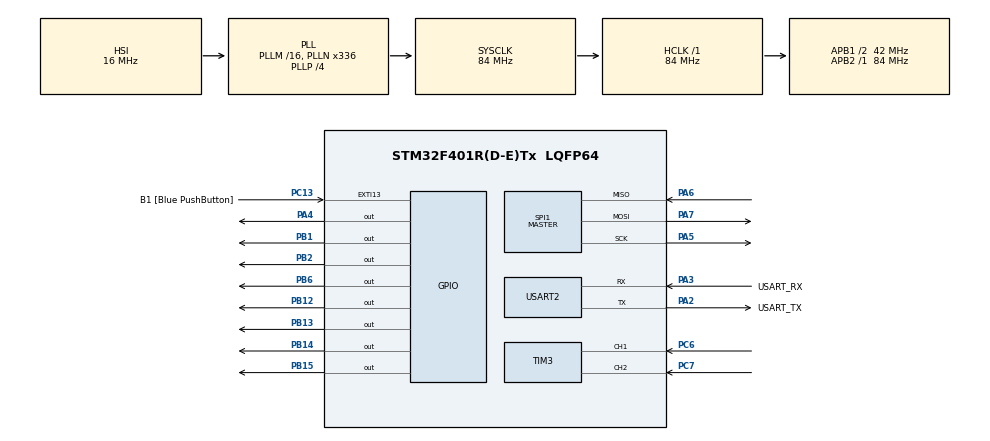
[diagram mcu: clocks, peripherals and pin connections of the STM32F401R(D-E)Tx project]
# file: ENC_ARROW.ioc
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Dma.Request0=USART2_TX
Dma.Request1=SPI1_TX
Dma.SPI1_TX.1.Direction=DMA_MEMORY_TO_PERIPH
Dma.SPI1_TX.1.FIFOMode=DMA_FIFOMODE_DISABLE
Dma.SPI1_TX.1.Instance=DMA2_Stream3
Dma.SPI1_TX.1.MemDataAlignment=DMA_MDATAALIGN_BYTE
Dma.SPI1_TX.1.MemInc=DMA_MINC_ENABLE
Dma.SPI1_TX.1.Mode=DMA_NORMAL
Dma.SPI1_TX.1.PeriphDataAlignment=DMA_PDATAALIGN_BYTE
Dma.SPI1_TX.1.PeriphInc=DMA_PINC_DISABLE
Dma.SPI1_TX.1.Priority=DMA_PRIORITY_LOW
Dma.USART2_TX.0.Direction=DMA_MEMORY_TO_PERIPH
Dma.USART2_TX.0.FIFOMode=DMA_FIFOMODE_DISABLE
Dma.USART2_TX.0.Instance=DMA1_Stream6
Dma.USART2_TX.0.MemDataAlignment=DMA_MDATAALIGN_BYTE
Dma.USART2_TX.0.MemInc=DMA_MINC_ENABLE
Dma.USART2_TX.0.Mode=DMA_NORMAL
Dma.USART2_TX.0.PeriphDataAlignment=DMA_PDATAALIGN_BYTE
Dma.USART2_TX.0.PeriphInc=DMA_PINC_DISABLE
Dma.USART2_TX.0.Priority=DMA_PRIORITY_HIGH
Mcu.Family=STM32F4
Mcu.Name=STM32F401R(D-E)Tx
Mcu.Package=LQFP64
NVIC.DMA1_Stream6_IRQn=true\:0\:0\:false\:false\:true\:false\:true\:true
NVIC.DMA2_Stream3_IRQn=true\:0\:0\:false\:false\:true\:false\:true\:true
NVIC.PriorityGroup=NVIC_PRIORITYGROUP_4
NVIC.SPI1_IRQn=true\:0\:0\:false\:false\:true\:true\:true\:true
NVIC.TIM2_IRQn=true\:0\:0\:false\:false\:true\:true\:true\:true
NVIC.TIM4_IRQn=true\:0\:0\:false\:false\:true\:true\:true\:true
PA13.GPIO_Label=TMS
PA13.Mode=Trace_Asynchronous_SW
PA13.Signal=SYS_JTMS-SWDIO
PA14.GPIO_Label=TCK
PA14.Mode=Trace_Asynchronous_SW
PA14.Signal=SYS_JTCK-SWCLK
PA2.GPIO_Label=USART_TX
PA2.GPIO_Mode=GPIO_MODE_AF_PP
PA2.GPIO_PuPd=GPIO_NOPULL
PA2.GPIO_Speed=GPIO_SPEED_FREQ_LOW
PA2.Mode=Asynchronous
PA2.Signal=USART2_TX
PA3.GPIO_Label=USART_RX
PA3.GPIO_Mode=GPIO_MODE_AF_PP
PA3.GPIO_PuPd=GPIO_NOPULL
PA3.GPIO_Speed=GPIO_SPEED_FREQ_LOW
PA3.Mode=Asynchronous
PA3.Signal=USART2_RX
PA4.Signal=GPIO_Output
PA5.Mode=Full_Duplex_Master
PA5.Signal=SPI1_SCK
PA6.Mode=Full_Duplex_Master
PA6.Signal=SPI1_MISO
PA7.Mode=Full_Duplex_Master
PA7.Signal=SPI1_MOSI
PB1.Signal=GPIO_Output
PB12.Signal=GPIO_Output
PB13.Signal=GPIO_Output
PB14.Signal=GPIO_Output
PB15.Signal=GPIO_Output
PB2.Signal=GPIO_Output
PB3.GPIO_Label=SWO
PB3.Mode=Trace_Asynchronous_SW
PB3.Signal=SYS_JTDO-SWO
PB6.Signal=GPIO_Output
PC13-ANTI_TAMP.GPIO_Label=B1 [Blue PushButton]
PC13-ANTI_TAMP.GPIO_ModeDefaultEXTI=GPIO_MODE_IT_FALLING
PC13-ANTI_TAMP.GPIO_PuPd=GPIO_NOPULL
PC13-ANTI_TAMP.Signal=GPXTI13
PC14-OSC32_IN.Mode=LSE-External-Oscillator
PC14-OSC32_IN.Signal=RCC_OSC32_IN
PC15-OSC32_OUT.Mode=LSE-External-Oscillator
PC15-OSC32_OUT.Signal=RCC_OSC32_OUT
PC6.Signal=S_TIM3_CH1
PC7.Signal=S_TIM3_CH2
PH0\ -\ OSC_IN.Mode=HSE-External-Clock-Source
PH0\ -\ OSC_IN.Signal=RCC_OSC_IN
PH1\ -\ OSC_OUT.Mode=HSE-External-Clock-Source
PH1\ -\ OSC_OUT.Signal=RCC_OSC_OUT
ProjectManager.HeapSize=0x200
ProjectManager.StackSize=0x400
ProjectManager.TargetToolchain=STM32CubeIDE
RCC.48MHZClocksFreq_Value=48000000
RCC.AHBFreq_Value=84000000
RCC.APB1CLKDivider=RCC_HCLK_DIV2
RCC.APB1Freq_Value=42000000
RCC.APB1TimFreq_Value=84000000
RCC.APB2Freq_Value=84000000
RCC.APB2TimFreq_Value=84000000
RCC.CortexFreq_Value=84000000
RCC.HCLKFreq_Value=84000000
RCC.HSE_VALUE=8000000
RCC.HSI_VALUE=16000000
RCC.PLLN=336
RCC.PLLP=RCC_PLLP_DIV4
RCC.PLLQ=7
RCC.SYSCLKFreq_VALUE=84000000
RCC.SYSCLKSource=RCC_SYSCLKSOURCE_PLLCLK
RCC.VCOOutputFreq_Value=336000000
SH.S_TIM3_CH1.0=TIM3_CH1,Encoder_Interface
SH.S_TIM3_CH2.0=TIM3_CH2,Encoder_Interface
SPI1.BaudRatePrescaler=SPI_BAUDRATEPRESCALER_4
SPI1.Direction=SPI_DIRECTION_2LINES
SPI1.Mode=SPI_MODE_MASTER
SPI1.VirtualType=VM_MASTER
TIM2.Period=8399
TIM2.Prescaler=9999
TIM3.ClockDivision=TIM_CLOCKDIVISION_DIV4
TIM3.IC1Filter=15
TIM3.IC1Polarity=TIM_ICPOLARITY_FALLING
TIM4.Period=33
TIM4.Prescaler=9999
USART2.VirtualMode=VM_ASYNC
VP_TIM2_VS_ClockSourceINT.Mode=Internal
VP_TIM4_VS_ClockSourceINT.Mode=Internal
board=NUCLEO-F401RE

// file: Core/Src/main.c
/* USER CODE BEGIN Header */
/**
  ******************************************************************************
  * @file           : main.c
  * @brief          : Main program body
  ******************************************************************************
  * @attention
  *
  * Copyright (c) 2026 STMicroelectronics.
  * All rights reserved.
  *
  * This software is licensed under terms that can be found in the LICENSE file
  * in the root directory of this software component.
  * If no LICENSE file comes with this software, it is provided AS-IS.
  *
  ******************************************************************************
  */
/* USER CODE END Header */
#include "main.h"

/* USER CODE BEGIN Includes */
#include "PMDB16_LCD.h"
#include "stdio.h"
#include "string.h"

/* USER CODE END Includes */

/* USER CODE BEGIN PD */
// ENCODER
#define STEPS_PER_REVOLUTION 24

// LED MATRIX
#define NUM_COLS 5
#define NUM_ARROWS 2
#define PORT_RCLK GPIOB
#define PIN_RCLK GPIO_PIN_6

/* USER CODE END PD */

SPI_HandleTypeDef hspi1;
DMA_HandleTypeDef hdma_spi1_tx;

TIM_HandleTypeDef htim2;
TIM_HandleTypeDef htim3;
TIM_HandleTypeDef htim4;

UART_HandleTypeDef huart2;
DMA_HandleTypeDef hdma_usart2_tx;

/* USER CODE BEGIN PV */

// LCD
char line_rpm[17];
volatile int bar_value=0;

// ENCODER
volatile float rpm;
static uint16_t value;
static uint16_t past_value=0;

// LED MATRIX
static const uint8_t ARROW_COL[NUM_COLS] = { 16,  8,  4,  2,  1 };
static const uint8_t ARROW_ROW[NUM_ARROWS][NUM_COLS] = {{ 8, 8, 42, 28, 8 },{ 8, 28, 42, 8, 8 }}; // -> (Clockwise), <-
static const uint8_t SPENTO[NUM_COLS] = { 0, 0, 0, 0, 0 }; //

// Contatore
static int col_cnt = 0; // Colonna a cui siamo arrivati = 0:NUM_COLS-1

// FLAGS
volatile uint8_t data_ready=0;
volatile uint8_t spento=1;
volatile uint8_t clockwise=0;

/* USER CODE END PV */

void SystemClock_Config(void);
static void MX_GPIO_Init(void);
static void MX_DMA_Init(void);
static void MX_USART2_UART_Init(void);
static void MX_TIM2_Init(void);
static void MX_TIM3_Init(void);
static void MX_TIM4_Init(void);
static void MX_SPI1_Init(void);
/* USER CODE BEGIN PFP */
static inline void spi_send(uint8_t col, uint8_t row);
/* USER CODE END PFP */

/* USER CODE BEGIN 0 */
void HAL_TIM_PeriodElapsedCallback(TIM_HandleTypeDef *htim)
{
	// CALLBACK CAMPIONAMENTO ENC (1Hz)
    if (htim->Instance == TIM2)
    {
    	value = __HAL_TIM_GET_COUNTER(&htim3); // Leggiamo il valore del Counter

    	int16_t delta = (int16_t) (value-past_value); // Calcoliamo di quanto ci siamo spostati

    	rpm = ((float)delta/STEPS_PER_REVOLUTION)*60.0f; // Revolutions Per Minute
    	// delta viene diviso per il numero di step in una rivoluzione, moltiplicato per 60s,
    	// moltiplicato per f=1Hz in questo caso

    	if(delta!=0){
    		if(delta>0){
    			clockwise=1;
    		}else{
    			clockwise=0;
    		}
    		spento=0;
    	}else{
    		spento=1;
    	}

    	float a;
    	if(rpm>0){
    		a=rpm;
    	}else{
    		a=-rpm;
    	}

    	bar_value = (int)((a / 60.0f) * 80.0f);   // 0-80
    	if(bar_value>80){
    		bar_value=80;
    	}

    	past_value=value; // Aggiorniamo

    	// Pronti a trasmettere sull'LCD
    	data_ready=1;

    }

	// CALLBACK CAMBIO COLONNA (4ms = 250Hz)
    if (htim->Instance == TIM4){
    	if(!spento){ // ACCESO
    		// Refresh Colonna
    		if(clockwise){
    			spi_send(ARROW_COL[col_cnt], ARROW_ROW[0][col_cnt]); // ->
    		}else{
    			spi_send(ARROW_COL[col_cnt], ARROW_ROW[1][col_cnt]); // <-
    		}

		}else{ // SPENTO
			spi_send(ARROW_COL[col_cnt], SPENTO[col_cnt]);
		}
    	col_cnt++;
		if (col_cnt == NUM_COLS){
			col_cnt = 0;
		}
	}
}

static inline void spi_send(uint8_t col, uint8_t row){
	static uint8_t buffer[2]; // 2 byte
	// DAISY RING
	buffer[0]=row; // prima la riga
	buffer[1]=col; // poi la colonna

	// Ogni 4 ms trasmettiamo (refreshamo)
	HAL_SPI_Transmit_DMA(&hspi1, buffer, 2);
}

void HAL_SPI_TxCpltCallback(SPI_HandleTypeDef *hspi){
	if(hspi->Instance==SPI1){
		// Una volta terminata la comunicazione dei 2 byte
		// diamo un impulso su RCLK per far scattare il latch
		// dei due shift register
		HAL_GPIO_WritePin(PORT_RCLK, PIN_RCLK, GPIO_PIN_SET);
		HAL_GPIO_WritePin(PORT_RCLK, PIN_RCLK, GPIO_PIN_RESET);
	}
}

/* USER CODE END 0 */

int main(void)
{

  /* MCU Configuration--------------------------------------------------------*/

  /* Reset of all peripherals, Initializes the Flash interface and the Systick. */
  HAL_Init();

  /* Configure the system clock */
  SystemClock_Config();

  /* Initialize all configured peripherals */
  MX_GPIO_Init();
  MX_DMA_Init();
  MX_USART2_UART_Init();
  MX_TIM2_Init();
  MX_TIM3_Init();
  MX_TIM4_Init();
  MX_SPI1_Init();
  /* USER CODE BEGIN 2 */

  // LCD
  lcd_initialize();
  lcd_backlight_ON();

  // Encoder
  HAL_TIM_Encoder_Start(&htim3, TIM_CHANNEL_ALL);
  HAL_TIM_Base_Start_IT(&htim2); // Interrupt 1Hz

  // SPI Led Matrix
  HAL_TIM_Base_Start_IT(&htim4); // Interrupt 250Hz

  /* USER CODE END 2 */

  /* Infinite loop */
  while (1)
  {

    /* USER CODE BEGIN 3 */
	  if(data_ready){
		  data_ready=0;

		  //LCD
		  sprintf(line_rpm, "RPM: %+.1f", rpm);
		  lcd_clear();
		  lcd_println(line_rpm, 0);
		  lcd_drawBar(bar_value);   // barra sulla riga inferiore

	  }
  }
  /* USER CODE END 3 */
}

void SystemClock_Config(void)
{
  RCC_OscInitTypeDef RCC_OscInitStruct = {0};
  RCC_ClkInitTypeDef RCC_ClkInitStruct = {0};

  /** Configure the main internal regulator output voltage
  */
  __HAL_RCC_PWR_CLK_ENABLE();
  __HAL_PWR_VOLTAGESCALING_CONFIG(PWR_REGULATOR_VOLTAGE_SCALE2);

  /** Initializes the RCC Oscillators according to the specified parameters
  * in the RCC_OscInitTypeDef structure.
  */
  RCC_OscInitStruct.OscillatorType = RCC_OSCILLATORTYPE_HSI;
  RCC_OscInitStruct.HSIState = RCC_HSI_ON;
  RCC_OscInitStruct.HSICalibrationValue = RCC_HSICALIBRATION_DEFAULT;
  RCC_OscInitStruct.PLL.PLLState = RCC_PLL_ON;
  RCC_OscInitStruct.PLL.PLLSource = RCC_PLLSOURCE_HSI;
  RCC_OscInitStruct.PLL.PLLM = 16;
  RCC_OscInitStruct.PLL.PLLN = 336;
  RCC_OscInitStruct.PLL.PLLP = RCC_PLLP_DIV4;
  RCC_OscInitStruct.PLL.PLLQ = 7;
  if (HAL_RCC_OscConfig(&RCC_OscInitStruct) != HAL_OK)
  {
    Error_Handler();
  }

  /** Initializes the CPU, AHB and APB buses clocks
  */
  RCC_ClkInitStruct.ClockType = RCC_CLOCKTYPE_HCLK|RCC_CLOCKTYPE_SYSCLK
                              |RCC_CLOCKTYPE_PCLK1|RCC_CLOCKTYPE_PCLK2;
  RCC_ClkInitStruct.SYSCLKSource = RCC_SYSCLKSOURCE_PLLCLK;
  RCC_ClkInitStruct.AHBCLKDivider = RCC_SYSCLK_DIV1;
  RCC_ClkInitStruct.APB1CLKDivider = RCC_HCLK_DIV2;
  RCC_ClkInitStruct.APB2CLKDivider = RCC_HCLK_DIV1;

  if (HAL_RCC_ClockConfig(&RCC_ClkInitStruct, FLASH_LATENCY_2) != HAL_OK)
  {
    Error_Handler();
  }
}

static void MX_SPI1_Init(void)
{

  /* SPI1 parameter configuration*/
  hspi1.Instance = SPI1;
  hspi1.Init.Mode = SPI_MODE_MASTER;
  hspi1.Init.Direction = SPI_DIRECTION_2LINES;
  hspi1.Init.DataSize = SPI_DATASIZE_8BIT;
  hspi1.Init.CLKPolarity = SPI_POLARITY_LOW;
  hspi1.Init.CLKPhase = SPI_PHASE_1EDGE;
  hspi1.Init.NSS = SPI_NSS_SOFT;
  hspi1.Init.BaudRatePrescaler = SPI_BAUDRATEPRESCALER_4;
  hspi1.Init.FirstBit = SPI_FIRSTBIT_MSB;
  hspi1.Init.TIMode = SPI_TIMODE_DISABLE;
  hspi1.Init.CRCCalculation = SPI_CRCCALCULATION_DISABLE;
  hspi1.Init.CRCPolynomial = 10;
  if (HAL_SPI_Init(&hspi1) != HAL_OK)
  {
    Error_Handler();
  }

}

static void MX_TIM2_Init(void)
{

  TIM_ClockConfigTypeDef sClockSourceConfig = {0};
  TIM_MasterConfigTypeDef sMasterConfig = {0};

  htim2.Instance = TIM2;
  htim2.Init.Prescaler = 9999;
  htim2.Init.CounterMode = TIM_COUNTERMODE_UP;
  htim2.Init.Period = 8399;
  htim2.Init.ClockDivision = TIM_CLOCKDIVISION_DIV1;
  htim2.Init.AutoReloadPreload = TIM_AUTORELOAD_PRELOAD_DISABLE;
  if (HAL_TIM_Base_Init(&htim2) != HAL_OK)
  {
    Error_Handler();
  }
  sClockSourceConfig.ClockSource = TIM_CLOCKSOURCE_INTERNAL;
  if (HAL_TIM_ConfigClockSource(&htim2, &sClockSourceConfig) != HAL_OK)
  {
    Error_Handler();
  }
  sMasterConfig.MasterOutputTrigger = TIM_TRGO_RESET;
  sMasterConfig.MasterSlaveMode = TIM_MASTERSLAVEMODE_DISABLE;
  if (HAL_TIMEx_MasterConfigSynchronization(&htim2, &sMasterConfig) != HAL_OK)
  {
    Error_Handler();
  }

}

static void MX_TIM3_Init(void)
{

  TIM_Encoder_InitTypeDef sConfig = {0};
  TIM_MasterConfigTypeDef sMasterConfig = {0};

  htim3.Instance = TIM3;
  htim3.Init.Prescaler = 0;
  htim3.Init.CounterMode = TIM_COUNTERMODE_UP;
  htim3.Init.Period = 65535;
  htim3.Init.ClockDivision = TIM_CLOCKDIVISION_DIV4;
  htim3.Init.AutoReloadPreload = TIM_AUTORELOAD_PRELOAD_DISABLE;
  sConfig.EncoderMode = TIM_ENCODERMODE_TI1;
  sConfig.IC1Polarity = TIM_ICPOLARITY_FALLING;
  sConfig.IC1Selection = TIM_ICSELECTION_DIRECTTI;
  sConfig.IC1Prescaler = TIM_ICPSC_DIV1;
  sConfig.IC1Filter = 15;
  sConfig.IC2Polarity = TIM_ICPOLARITY_RISING;
  sConfig.IC2Selection = TIM_ICSELECTION_DIRECTTI;
  sConfig.IC2Prescaler = TIM_ICPSC_DIV1;
  sConfig.IC2Filter = 0;
  if (HAL_TIM_Encoder_Init(&htim3, &sConfig) != HAL_OK)
  {
    Error_Handler();
  }
  sMasterConfig.MasterOutputTrigger = TIM_TRGO_RESET;
  sMasterConfig.MasterSlaveMode = TIM_MASTERSLAVEMODE_DISABLE;
  if (HAL_TIMEx_MasterConfigSynchronization(&htim3, &sMasterConfig) != HAL_OK)
  {
    Error_Handler();
  }

}

static void MX_TIM4_Init(void)
{

  TIM_ClockConfigTypeDef sClockSourceConfig = {0};
  TIM_MasterConfigTypeDef sMasterConfig = {0};

  htim4.Instance = TIM4;
  htim4.Init.Prescaler = 9999;
  htim4.Init.CounterMode = TIM_COUNTERMODE_UP;
  htim4.Init.Period = 33;
  htim4.Init.ClockDivision = TIM_CLOCKDIVISION_DIV1;
  htim4.Init.AutoReloadPreload = TIM_AUTORELOAD_PRELOAD_DISABLE;
  if (HAL_TIM_Base_Init(&htim4) != HAL_OK)
  {
    Error_Handler();
  }
  sClockSourceConfig.ClockSource = TIM_CLOCKSOURCE_INTERNAL;
  if (HAL_TIM_ConfigClockSource(&htim4, &sClockSourceConfig) != HAL_OK)
  {
    Error_Handler();
  }
  sMasterConfig.MasterOutputTrigger = TIM_TRGO_RESET;
  sMasterConfig.MasterSlaveMode = TIM_MASTERSLAVEMODE_DISABLE;
  if (HAL_TIMEx_MasterConfigSynchronization(&htim4, &sMasterConfig) != HAL_OK)
  {
    Error_Handler();
  }

}

static void MX_USART2_UART_Init(void)
{

  huart2.Instance = USART2;
  huart2.Init.BaudRate = 115200;
  huart2.Init.WordLength = UART_WORDLENGTH_8B;
  huart2.Init.StopBits = UART_STOPBITS_1;
  huart2.Init.Parity = UART_PARITY_NONE;
  huart2.Init.Mode = UART_MODE_TX_RX;
  huart2.Init.HwFlowCtl = UART_HWCONTROL_NONE;
  huart2.Init.OverSampling = UART_OVERSAMPLING_16;
  if (HAL_UART_Init(&huart2) != HAL_OK)
  {
    Error_Handler();
  }

}

static void MX_DMA_Init(void)
{

  /* DMA controller clock enable */
  __HAL_RCC_DMA1_CLK_ENABLE();
  __HAL_RCC_DMA2_CLK_ENABLE();

  /* DMA interrupt init */
  /* DMA1_Stream6_IRQn interrupt configuration */
  HAL_NVIC_SetPriority(DMA1_Stream6_IRQn, 0, 0);
  HAL_NVIC_EnableIRQ(DMA1_Stream6_IRQn);
  /* DMA2_Stream3_IRQn interrupt configuration */
  HAL_NVIC_SetPriority(DMA2_Stream3_IRQn, 0, 0);
  HAL_NVIC_EnableIRQ(DMA2_Stream3_IRQn);

}

static void MX_GPIO_Init(void)
{
  GPIO_InitTypeDef GPIO_InitStruct = {0};

  /* GPIO Ports Clock Enable */
  __HAL_RCC_GPIOC_CLK_ENABLE();
  __HAL_RCC_GPIOH_CLK_ENABLE();
  __HAL_RCC_GPIOA_CLK_ENABLE();
  __HAL_RCC_GPIOB_CLK_ENABLE();

  /*Configure GPIO pin Output Level */
  HAL_GPIO_WritePin(GPIOA, GPIO_PIN_4, GPIO_PIN_RESET);

  /*Configure GPIO pin Output Level */
  HAL_GPIO_WritePin(GPIOB, GPIO_PIN_1|GPIO_PIN_2|GPIO_PIN_12|GPIO_PIN_13
                          |GPIO_PIN_14|GPIO_PIN_15|GPIO_PIN_6, GPIO_PIN_RESET);

  /*Configure GPIO pin : B1_Pin */
  GPIO_InitStruct.Pin = B1_Pin;
  GPIO_InitStruct.Mode = GPIO_MODE_IT_FALLING;
  GPIO_InitStruct.Pull = GPIO_NOPULL;
  HAL_GPIO_Init(B1_GPIO_Port, &GPIO_InitStruct);

  /*Configure GPIO pin : PA4 */
  GPIO_InitStruct.Pin = GPIO_PIN_4;
  GPIO_InitStruct.Mode = GPIO_MODE_OUTPUT_PP;
  GPIO_InitStruct.Pull = GPIO_NOPULL;
  GPIO_InitStruct.Speed = GPIO_SPEED_FREQ_LOW;
  HAL_GPIO_Init(GPIOA, &GPIO_InitStruct);

  /*Configure GPIO pins : PB1 PB2 PB12 PB13
                           PB14 PB15 PB6 */
  GPIO_InitStruct.Pin = GPIO_PIN_1|GPIO_PIN_2|GPIO_PIN_12|GPIO_PIN_13
                          |GPIO_PIN_14|GPIO_PIN_15|GPIO_PIN_6;
  GPIO_InitStruct.Mode = GPIO_MODE_OUTPUT_PP;
  GPIO_InitStruct.Pull = GPIO_NOPULL;
  GPIO_InitStruct.Speed = GPIO_SPEED_FREQ_LOW;
  HAL_GPIO_Init(GPIOB, &GPIO_InitStruct);

}

void Error_Handler(void)
{
  __disable_irq();
  while (1)
  {
  }
}
